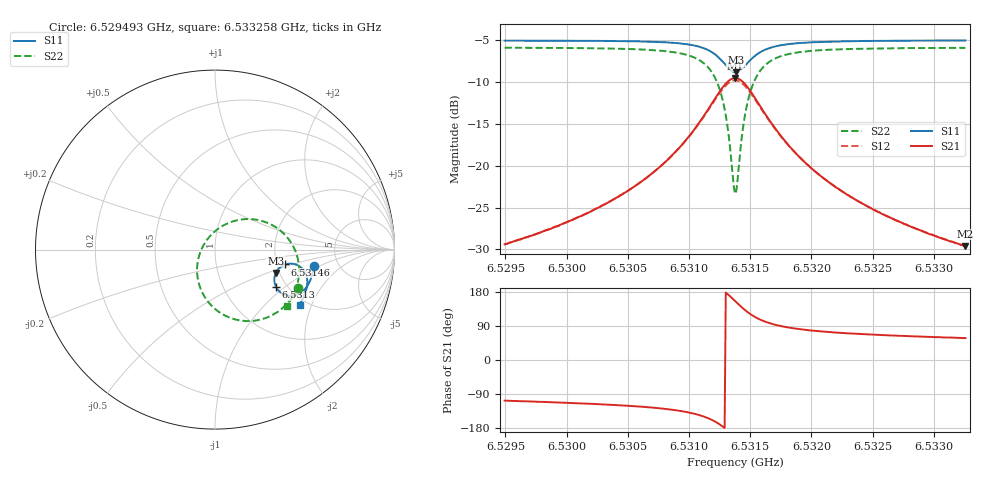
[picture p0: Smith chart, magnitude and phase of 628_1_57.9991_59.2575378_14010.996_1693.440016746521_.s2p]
#  HZ  S  RI  R  50.00
! Rohde & Schwarz Vector Network Analyzer
! Rohde-Schwarz,ZNB20-2Port,1311601062101988,3.16
! Created: UTC 3/21/2024, 1:18:25 AM
! freq[Hz]  re:S11  im:S11  re:S21  im:S21  re:S12  im:S12  re:S22  im:S22
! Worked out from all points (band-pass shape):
!   401 points, 6.529493 GHz to 6.533258 GHz, reference 50 ohm
!   highest |S21| = -9.50 dB at 6.531376 GHz (marker M1); lowest = -29.6 dB at 6.533258 GHz (marker M2)
!   |S21| within 3 dB of the highest: 6.531189 GHz to 6.531565 GHz (376.3 kHz wide, 0.00576 % of centre)
!   lowest |S11| = -8.8 dB at 6.531385 GHz (marker M3), VSWR 2.14, Z = 95.5 - j28.7 ohm
!   |S11| at or under -10 dB: nowhere
!   |S22| runs from -23.4 to -5.9 dB; largest |S21 - S12| = 0.014
!   S11 on the Smith chart (normalised r, x): 6.529493 GHz: 3.28, -0.90; 6.5313 GHz: 1.76, -0.88; 6.53146 GHz: 2.22, -0.44; 6.533258 GHz: 1.83, -1.64
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6.5294932e9  0.5528 -0.0936  -0.01 -0.0324  -0.0108 -0.0321  0.4621 -0.2122
6.5301238e9  0.5397 -0.1468  -0.0208 -0.0456  -0.0221 -0.0453  0.4265 -0.2714
6.5304721e9  0.5266 -0.1801  -0.0346 -0.0596  -0.0362 -0.0586  0.3905 -0.3131
6.5307544e9  0.5079 -0.2117  -0.059 -0.0776  -0.0612 -0.0757  0.3355 -0.3559
6.5309803e9  0.4761 -0.2417  -0.106 -0.0975  -0.1088 -0.0935  0.2413 -0.3926
6.5311403e9  0.4264 -0.2577  -0.1837 -0.0994  -0.1854 -0.0912  0.1009 -0.3857
6.5312345e9  0.3767 -0.246  -0.2597 -0.0622  -0.2571 -0.051  -0.0233 -0.3081
6.5312721e9  0.355 -0.2291  -0.2914 -0.0266  -0.2855 -0.0153  -0.0694 -0.2423
6.5313004e9  0.3413 -0.21  -0.3099 0.0105  -0.3014 0.0208  -0.0929 -0.1772
6.5313286e9  0.3325 -0.1856  -0.3195 0.0554  -0.3084 0.0636  -0.0998 -0.1017
6.5313568e9  0.3311 -0.1578  -0.3162 0.1046  -0.3035 0.1097  -0.0849 -0.022
6.5313756e9  0.3351 -0.1392  -0.3057 0.137  -0.2928 0.1398  -0.0617 0.0287
6.5313851e9  0.3386 -0.1304  -0.298 0.1522  -0.2853 0.1539  -0.0464 0.0523
6.5314415e9  0.3749 -0.0902  -0.2285 0.22  -0.2188 0.2165  0.0792 0.15
6.5314604e9  0.3902 -0.083  -0.2012 0.2314  -0.193 0.2273  0.1262 0.1643
6.5315262e9  0.4395 -0.0799  -0.115 0.2363  -0.1113 0.2323  0.2701 0.1568
6.5316204e9  0.4833 -0.103  -0.0406 0.2012  -0.0389 0.1988  0.3903 0.0813
6.5317616e9  0.5084 -0.1424  0.0031 0.1472  0.00457 0.1463  0.4544 -0.0261
6.5320063e9  0.5145 -0.1895  0.0207 0.0935  0.0218 0.0932  0.4681 -0.1361
6.5322792e9  0.5082 -0.2242  0.0224 0.0644  0.0235 0.0641  0.4561 -0.2017
6.5326369e9  0.496 -0.2586  0.0208 0.0446  0.0216 0.0443  0.4357 -0.2544
6.5332581e9  0.4712 -0.3063  0.0176 0.028  0.0182 0.0276  0.4004 -0.3121
